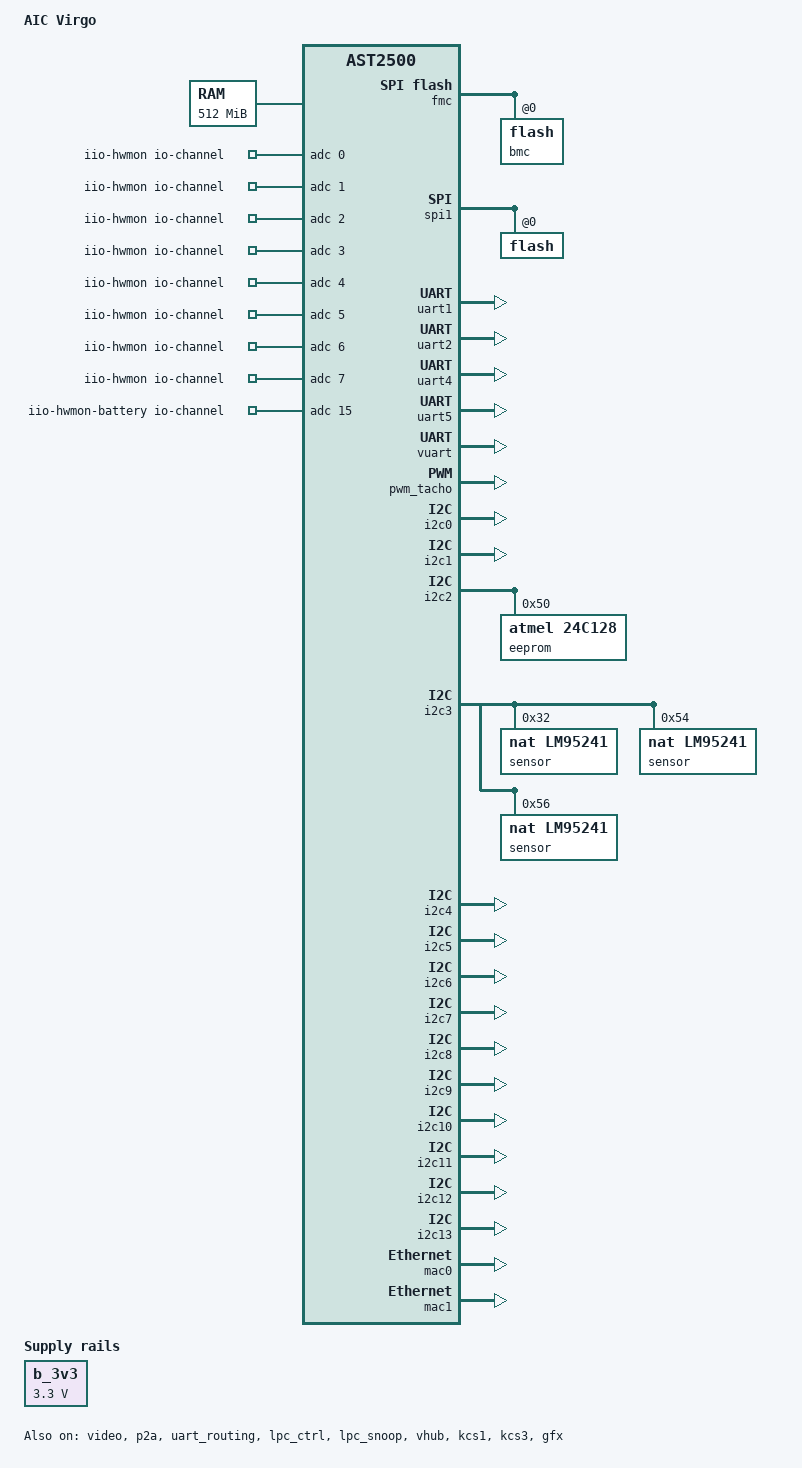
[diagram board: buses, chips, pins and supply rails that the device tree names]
// SPDX-License-Identifier: GPL-2.0+
/dts-v1/;

#include "aspeed-g5.dtsi"
#include <dt-bindings/gpio/aspeed-gpio.h>
#include <dt-bindings/interrupt-controller/irq.h>

/ {
	model = "AIC Virgo";
	compatible = "aic,virgo", "aspeed,ast2500";

	chosen {
		stdout-path = &uart5;
		bootargs = "console=ttyS4,115200 earlycon";
	};

	memory@80000000 {
        device_type = "memory";
        reg = <0x80000000 0x20000000>;
    };

	reserved-memory {
		#address-cells = <1>;
		#size-cells = <1>;
		ranges;

		p2a_memory: region@987f0000 {
			no-map;
			reg = <0x987f0000 0x00010000>; /* 64KB */
		};

		vga_memory: framebuffer@9f000000 {
			no-map;
			reg = <0x9f000000 0x01000000>; /* 16M */
		};

		gfx_memory: framebuffer {
			size = <0x01000000>; /* 16M */
			alignment = <0x01000000>;
			compatible = "shared-dma-pool";
			reusable;
		};

        video_engine_memory: jpegbuffer {
            	size = <0x02000000>;	/* 32M */
            	alignment = <0x01000000>;
            	compatible = "shared-dma-pool";
            	reusable;
        };

        flash_memory: region@98000000 {
            			no-map;
            			reg = <0x98000000 0x04000000>; /* 64M */
        };

        b_3v3: regulator-sb3v3 {
        		compatible = "regulator-fixed";
        		regulator-name = "MC34717-3.3VSB";
        		regulator-min-microvolt = <3300000>;
        		regulator-max-microvolt = <3300000>;
        		regulator-boot-on;
        		regulator-always-on;
        	};
	};

    /* OK ADC 16 */
	iio-hwmon {
		compatible = "iio-hwmon";
		io-channels = <&adc 0>, <&adc 1>, <&adc 2>, <&adc 3>,
			<&adc 4>, <&adc 5>, <&adc 6>, <&adc 7>,
			<&adc 8>, <&adc 9>, <&adc 10>, <&adc 11>,
			<&adc 12>, <&adc 13>, <&adc 14>;
	};

	iio-hwmon-battery {
    		compatible = "iio-hwmon";
    		io-channels = <&adc 15>;
    };

};

&fmc {
	status = "okay";
	flash@0 {
		label = "bmc";
		status = "okay";
		m25p,fast-read;
#include "openbmc-flash-layout.dtsi"
	};
};

&spi1 {
	status = "okay";
	pinctrl-names = "default";
	pinctrl-0 = <&pinctrl_spi1_default>;

	flash@0 {
		status = "okay";
		m25p,fast-read;
	};
};

&video {
	status = "okay";
	memory-region = <&video_engine_memory>;
};

&p2a {
	status = "okay";
	memory-region = <&p2a_memory>;
};

&uart1 {
	status = "okay";
};

&uart2 {
	status = "okay";
};

&uart4 {
	status = "okay";
};

&uart5 {
	status = "okay";
};

&uart_routing {
	status = "okay";
};

&vuart {
	status = "okay";
};

&lpc_ctrl {
	status = "okay";
	memory-region = <&flash_memory>;
	flash = <&spi1>;
};

&lpc_snoop {
	status = "okay";
	snoop-ports = <0x80>;
};

&vhub {
	status = "okay";
};

&pwm_tacho {
	status = "okay";
	pinctrl-names = "default";
	pinctrl-0 = <&pinctrl_pwm0_default
			&pinctrl_pwm1_default
			&pinctrl_pwm3_default
			&pinctrl_pwm4_default>;

	/* CPU fan #0 */
	fan@0 {
		reg = <0x00>;
		aspeed,fan-tach-ch = /bits/ 8 <0x00>;
	};

	/* CPU fan #1 */
	fan@1 {
		reg = <0x01>;
		aspeed,fan-tach-ch = /bits/ 8 <0x01>;
	};

	/* PWM group for chassis fans #1, #2, #3 and #4  */
	fan@2 {
		reg = <0x03>;
		aspeed,fan-tach-ch = /bits/ 8 <0x02>;
	};

	fan@3 {
		reg = <0x03>;
		aspeed,fan-tach-ch = /bits/ 8 <0x03>;
	};

	fan@4 {
		reg = <0x03>;
		aspeed,fan-tach-ch = /bits/ 8 <0x04>;
	};

	fan@5 {
		reg = <0x03>;
		aspeed,fan-tach-ch = /bits/ 8 <0x05>;
	};

	/* PWM group for chassis fans #5 and #6  */
	fan@6 {
		reg = <0x04>;
		aspeed,fan-tach-ch = /bits/ 8 <0x06>;
	};

	fan@7 {
		reg = <0x04>;
		aspeed,fan-tach-ch = /bits/ 8 <0x07>;
	};
};

&i2c0 {
	/* IPMB and Switch */
	status = "okay";
};

&i2c1 {
	/* MB_3V3SB_CLK SMB_3V3SB_DAT via SW */
	status = "okay";

	/*
	*0x00
    *0x0a
    *0x10
    *0x88
    *0x90
    *0xe4
    */
};

&i2c2 {
    status = "okay";

	/* AT24C128BN-SH-T EEPROM
	* Changed A0 to 50 (8 bit to 7 bit)
	*/
	eeprom@50 {
		compatible = "atmel,24c128";
		reg = <0x50>;
		pagesize = <64>;
	};
};

&i2c3 {
	status = "okay";

	/* THERMAL SENSORS LM95241CIMM */
	sensor@32 {
		compatible = "nat,lm95241";
		reg = <0x32>;
	};

	sensor@54 {
    		compatible = "nat,lm95241";
    		reg = <0x54>;
    };

	sensor@56 {
    		compatible = "nat,lm95241";
    		reg = <0x56>;
    };
};

&i2c4 {
	status = "okay";

	/* Connected to:
	 * - SFF-8643 via 2 MUX -  0XE2, 0XE0
	 */

};

&i2c5 {
	status = "okay";

	/* Connected via LS to:
	 * - SMBCLK and SMBDAT
	   - PIN header 1x5
	   - SMB_SMLINK1_CLK and SMB_SMLINK1_DATA
	 */
};

&i2c6 {
	status = "okay";

	/*
	* SMB_SMLINK0_CLK and SMB_SMLINK0_DATA
	* 0x00
    * 0x2c
    * 0xe0
	*/

};

&i2c7 {
	status = "okay";

	/*
	 * Front Panel 2x25
	 */
};

&i2c8 {
	status = "okay";

	/*
	* Box Header 2x3
	*/
};

&i2c9 {
	status = "okay";

	/*
	* Pin Header 1x3
	*/
};

&i2c10 {
	status = "okay";
};

&i2c11 {
	status = "okay";
};

&i2c12 {
	status = "okay";
};

&i2c13 {
	status = "okay";

	/*
	* Fan Present/Fault 1x6 (FAN_SENSOR)
	0x40
    0x42
	*/

};

&mac0 {
	status = "okay";
	pinctrl-names = "default";
	pinctrl-0 = <&pinctrl_rmii1_default>;
};

&mac1 {
	status = "okay";
	pinctrl-names = "default";
	pinctrl-0 = <&pinctrl_rgmii2_default &pinctrl_mdio2_default>;
};

&kcs1 {
	status = "okay";
};

&kcs3 {
	status = "okay";
};

/* Enable BMC VGA output to show an early (pre-BIOS) boot screen */
&gfx {
	status = "okay";
	memory-region = <&gfx_memory>;
};

/* We're following the GPIO naming as defined at
 * https://github.com/openbmc/docs/blob/master/designs/device-tree-gpio-naming.md.
 *
 * Notes on led-identify and id-button:
 * - A physical button is connected to id-button which
 *   triggers the clock on a D flip-flop. The /Q output of the
 *   flip-flop drives its D input.
 * - The flip-flop's Q output drives led-identify which is
 *   connected to LEDs.
 * - With that, every button press toggles the LED between on and off.
 *
 * Notes on power-, reset- and nmi- button and control:
 * - The -button signals can be used to monitor physical buttons.
 * - The -control signals can be used to actuate the specific
 *   operation.
 * - In hardware, the -button signals are connected to the -control
 *   signals through drivers with the -control signals being
 *   protected through diodes.
 */
&gpio {
	status = "okay";
	gpio-line-names =
	/*0 A0*/	"",
	/*1 A1*/	"",
	/*2 A2*/	"",
	/*3 A3*/	"",
	/*4 A4*/    "",
	/*5 A5*/    "",
	/*6 A6*/    "",
	/*7 A7*/    "",
	/*8 B0*/    "",
	/*9 B1*/   "",
	/*10 B2*/   "",
	/*11 B3*/   "",
	/*12 B4*/   "",
	/*13 B5*/   "",
	/*14 B6*/   "",
	/*15 B7*/   "",
	/*16 C0*/	"",
	/*17 C1*/	"",
	/*18 C2*/	"",
	/*19 C3*/	"",
	/*20 C4*/	"",
	/*21 C5*/	"",
	/*22 C6*/	"",
	/*23 C7*/	"",
	/*24 D0*/	"power-button", /* in: SW_PWR_BTN */
	/*25 D1*/	"power-chassis-control", /* out: PWR_SW_OUT */
	/*26 D2*/   "reset-button",  /* in: SW_RST_BTN #  */
	/*27 D3*/	"reset-control", /* out: PCH_SYSRST */
	/*28 D4*/   "nmi-button", /* in: FP_NMI_BTN */
	/*29 D5*/   "nmi-out", /* out: FP_NMI_BTN_OUT */
	/*30 D6*/	"power-ok", /* out: SYSTEM_PWRGD */
	/*31 D7*/   "power-chassis-good",/* SYS ALL GD */
	/*32 E0*/	"BMC_PE_SMB_SW_BIT1", /* smb sw 1 */
	/*33 E1*/	"BMC_PE_SMB_SW_BIT0",/* smb sw 0 */
	/*34 E2*/	"",
	/*35 E3*/	"",
	/*36 E4*/	"",
	/*37 E5*/	"",
	/*38 E6*/	"",
	/*39 E7*/	"",
	/*40 F0*/	"",
	/*41 F1*/	"",
	/*42 F2*/	"",
	/*43 F3*/	"",
	/*44 F4*/	"led-fault", /* out: AST_HW_FAULT_N */
	/*45 F5*/	"",
	/*46 F6*/	"",
	/*47 F7*/	"",
	/*48 G0*/	"", /* out */
	/*49 G1*/	"", /* out */
	/*50 G2*/	"",
	/*51 G3*/	"",
	/*52 G4*/	"",
	/*53 G5*/	"",
	/*54 G6*/	"",
	/*55 G7*/	"",
	/*56 H0*/	"",
	/*57 H1*/   "",
	/*58 H2*/   "",
	/*59 H3*/   "",
	/*60 H4*/   "id-button", /* in: UID_SW_IN_N */
	/*61 H5*/   "clear-cmos-control", /* out: CLEAR_CMOS */
	/*62 H6*/   "uiddled_out", /* out: UIDLED_OUT */
	/*63 H7*/   "flash-override", /*in: FLASH_OVERRIDE */
	/*64 I0*/	"post-complete",  /*  out: FM_BIOS_POST_CMPLT_N */
	/*I1*/      "intruder_chassis", /* out: SIO_CHASSIS */
	/*I2*/      "led-heartbeat", /* out: "HEART BIT" */
	            "",
	            "",
	            "","","",
	/*J0-J7*/	"","","","","","","","",
	/*K0-K7*/	"","","","","","","","",
	/*L0-L7*/	"","","","","","","","",
	/*M0-M7*/	"","","","","","","","",
	/*N0-N7*/	"","","","","","","","",
	/*O0-O7*/	"","","","","","","","",
	/*P0-P7*/	"",
	            "",
	            "",
	            "",
	            "",
	/*P5*/      "", /* PCH_NMI_N */
	/*P6*/      "bmc-nmi-out", /* in: BMC_NMI_OUT */
	/*P7*/      "bmc-nmi-button", /* in: BMC_NMI_IN */
	/*Q0*/		"",
	/*Q1*/		"",
	/*Q2*/		"",
	/*Q3*/		"",
	/*Q4*/		"BMC_PE_SMB_EN_1_N", /* not avail */
	/*Q5*/		"BMC_PE_SMB_EN_2_N", /* not avail */
	/*Q6*/		"",
	/*Q7*/		"",
	/*R0-R7*/	"","","","","","","","",
	/*S0-S7*/	"","","","","","","","",
	/*T0-T7*/	"","","","","","","","",
	/*U0-U7*/	"","","","","","","","",
	/*V0-V7*/	"","","","","","","","",
	/*W0-W7*/	"","","","","","","","",
	/*X0-X7*/	"","","","","","","","",
	/*Y0-Y7*/	"","","","","","","","",
	/*Z0-Z7*/	"","","","","","","","",
	/*AA0*/		"",
	/*AA1*/		"",
	/*AA2*/		"",
	/*AA3*/		"BMC_SMB3_PCH_IE_SML3_EN", /* not avail */
	/*AA4*/		"",
	/*AA5*/		"",
	/*AA6*/		"",
	/*AA7*/		"",
	/*AB0-AB7*/	"","","","","","","","";
};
